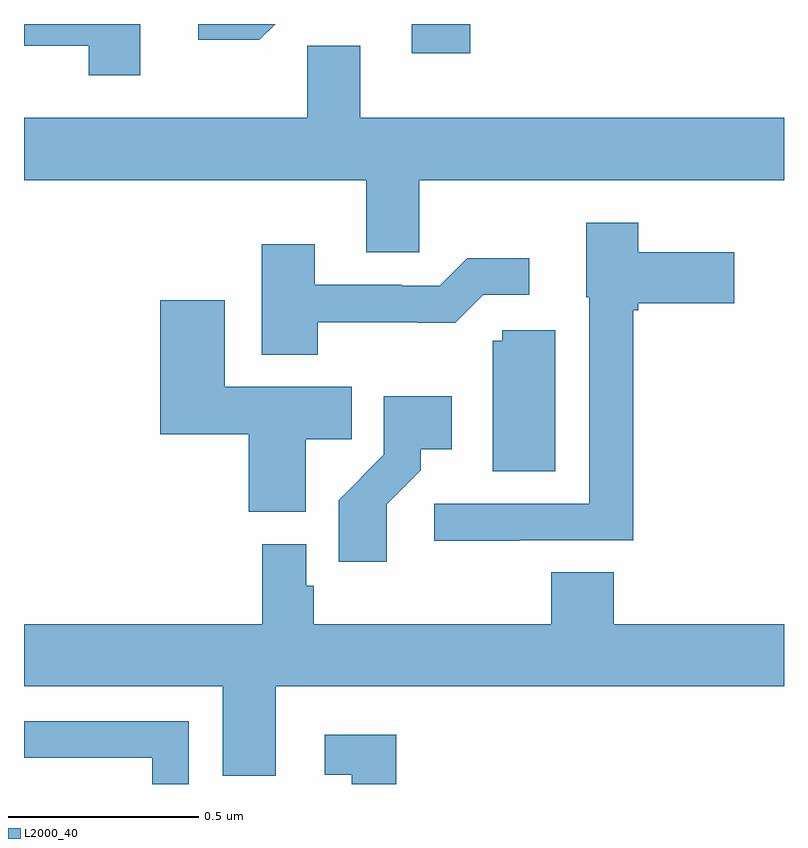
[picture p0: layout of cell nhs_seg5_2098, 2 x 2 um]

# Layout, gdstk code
import gdstk
lib = gdstk.Library(unit=1e-6, precision=1e-09)
def R(c, l, rs):  # rectangles x0, y0, x1, y1
    for r in rs: c.add(gdstk.rectangle(r[:2], r[2:], *l))
def P(c, l, *ps):  # polygons
    for p in ps: c.add(gdstk.Polygon(p, *l))
L2000_40 = (2000, 40)

nhs_seg5_2098 = lib.new_cell('nhs_seg5_2098')
R(nhs_seg5_2098, L2000_40, [(140.021,895.722,140.174,895.799)])
P(nhs_seg5_2098, L2000_40, [(139.306,895.799),(139,895.799),(139,895.742),(139.17,895.742),(139.17,895.664),(139.306,895.664)],
  [(139.661,895.799),(139.458,895.799),(139.458,895.757),(139.619,895.757)],
  [(140.04,895.388),(141,895.388),(141,895.552),(139.885,895.552),(139.885,895.742),(139.746,895.742),(139.746,895.552),(139,895.552),(139,895.388),(139.901,895.388),(139.901,895.198),(140.04,895.198)],
  [(140.303,894.441),(140.603,894.441),(140.603,895.046),(140.616,895.046),(140.616,895.064),(140.869,895.064),(140.869,895.198),(140.616,895.198),(140.616,895.276),(140.48,895.276),(140.48,895.08),(140.487,895.08),(140.487,894.537),(140.079,894.537),(140.079,894.439),(140.303,894.439)],
  [(139.773,895.014),(140.036,895.014),(140.036,895.013),(140.135,895.013),(140.208,895.086),(140.329,895.086),(140.329,895.183),(140.167,895.183),(140.094,895.11),(139.994,895.11),(139.994,895.113),(139.765,895.113),(139.765,895.219),(139.625,895.219),(139.625,894.929),(139.773,894.929)],
  [(139.741,894.706),(139.862,894.706),(139.862,894.844),(139.528,894.844),(139.528,895.072),(139.358,895.072),(139.358,894.719),(139.592,894.719),(139.592,894.515),(139.741,894.515)],
  [(140.398,894.993),(140.259,894.993),(140.259,894.966),(140.234,894.966),(140.234,894.622),(140.398,894.622)],
  [(139.954,894.535),(140.044,894.625),(140.044,894.68),(140.125,894.68),(140.125,894.82),(139.947,894.82),(139.947,894.665),(139.828,894.546),(139.828,894.384),(139.954,894.384)],
  [(139.663,894.056),(141,894.056),(141,894.22),(140.552,894.22),(140.552,894.356),(140.387,894.356),(140.387,894.22),(139.763,894.22),(139.763,894.321),(139.743,894.321),(139.743,894.43),(139.627,894.43),(139.627,894.22),(139,894.22),(139,894.056),(139.523,894.056),(139.523,893.821),(139.663,893.821)],
  [(139.434,893.964),(139,893.964),(139,893.868),(139.337,893.868),(139.337,893.799),(139.434,893.799)],
  [(139.979,893.929),(139.791,893.929),(139.791,893.823),(139.863,893.823),(139.863,893.799),(139.979,893.799)])

lib.write_gds('nhs_seg5_2098.gds')
